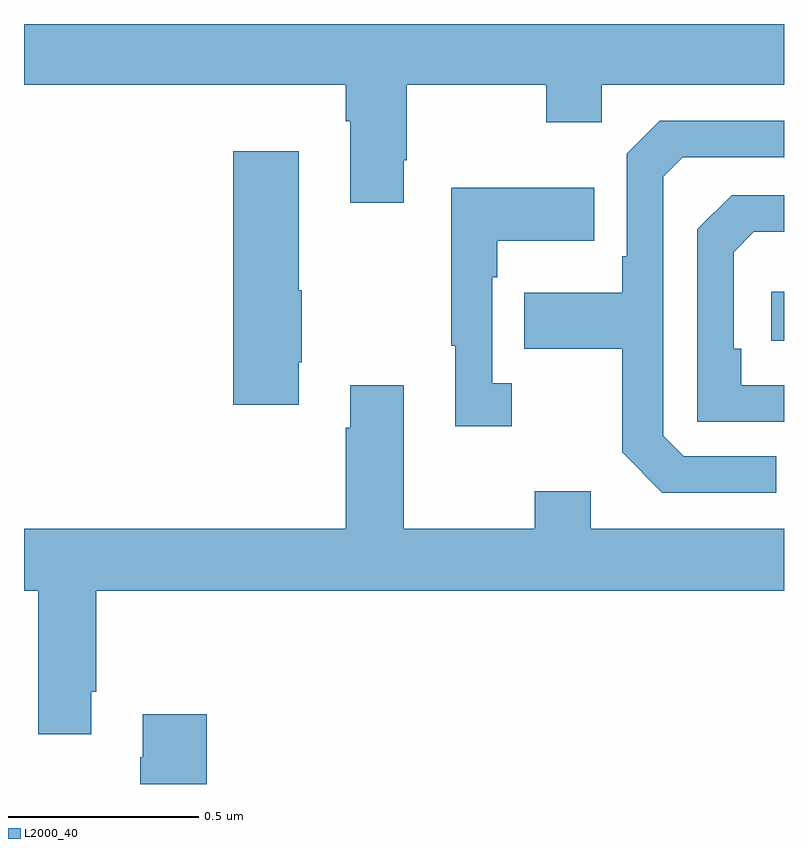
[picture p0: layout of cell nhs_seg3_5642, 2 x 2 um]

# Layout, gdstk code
import gdstk
lib = gdstk.Library(unit=1e-6, precision=1e-09)
def R(c, l, rs):  # rectangles x0, y0, x1, y1
    for r in rs: c.add(gdstk.rectangle(r[:2], r[2:], *l))
def P(c, l, *ps):  # polygons
    for p in ps: c.add(gdstk.Polygon(p, *l))
L2000_40 = (2000, 40)

nhs_seg3_5642 = lib.new_cell('nhs_seg3_5642')
R(nhs_seg3_5642, L2000_40, [(182.967,709.566,183,709.696)])
P(nhs_seg3_5642, L2000_40, [(181.999,710.041),(182.007,710.041),(182.007,710.24),(182.374,710.24),(182.374,710.141),(182.52,710.141),(182.52,710.24),(183,710.24),(183,710.4),(181,710.4),(181,710.24),(181.847,710.24),(181.847,710.144),(181.859,710.144),(181.859,709.929),(181.999,709.929)],
  [(182.98,709.263),(182.736,709.263),(182.682,709.317),(182.682,709.998),(182.733,710.049),(183,710.049),(183,710.145),(182.673,710.145),(182.586,710.058),(182.586,709.789),(182.574,709.789),(182.574,709.693),(182.317,709.693),(182.317,709.546),(182.574,709.546),(182.574,709.273),(182.679,709.167),(182.98,709.167)],
  [(181.723,709.51),(181.731,709.51),(181.731,709.699),(181.723,709.699),(181.723,710.065),(181.55,710.065),(181.55,709.398),(181.723,709.398)],
  [(182.284,709.454),(182.232,709.454),(182.232,709.733),(182.245,709.733),(182.245,709.829),(182.501,709.829),(182.501,709.969),(182.124,709.969),(182.124,709.553),(182.135,709.553),(182.135,709.341),(182.284,709.341)],
  [(183,709.449),(182.888,709.449),(182.888,709.546),(182.868,709.546),(182.868,709.8),(182.921,709.853),(183,709.853),(183,709.95),(182.862,709.95),(182.772,709.86),(182.772,709.353),(183,709.353)],
  [(181.177,708.643),(181.19,708.643),(181.19,708.908),(183,708.908),(183,709.072),(182.491,709.072),(182.491,709.171),(182.344,709.171),(182.344,709.072),(181.999,709.072),(181.999,709.45),(181.859,709.45),(181.859,709.337),(181.847,709.337),(181.847,709.072),(181,709.072),(181,708.908),(181.037,708.908),(181.037,708.531),(181.177,708.531)],
  [(181.481,708.583),(181.313,708.583),(181.313,708.47),(181.306,708.47),(181.306,708.4),(181.481,708.4)])

lib.write_gds('nhs_seg3_5642.gds')
